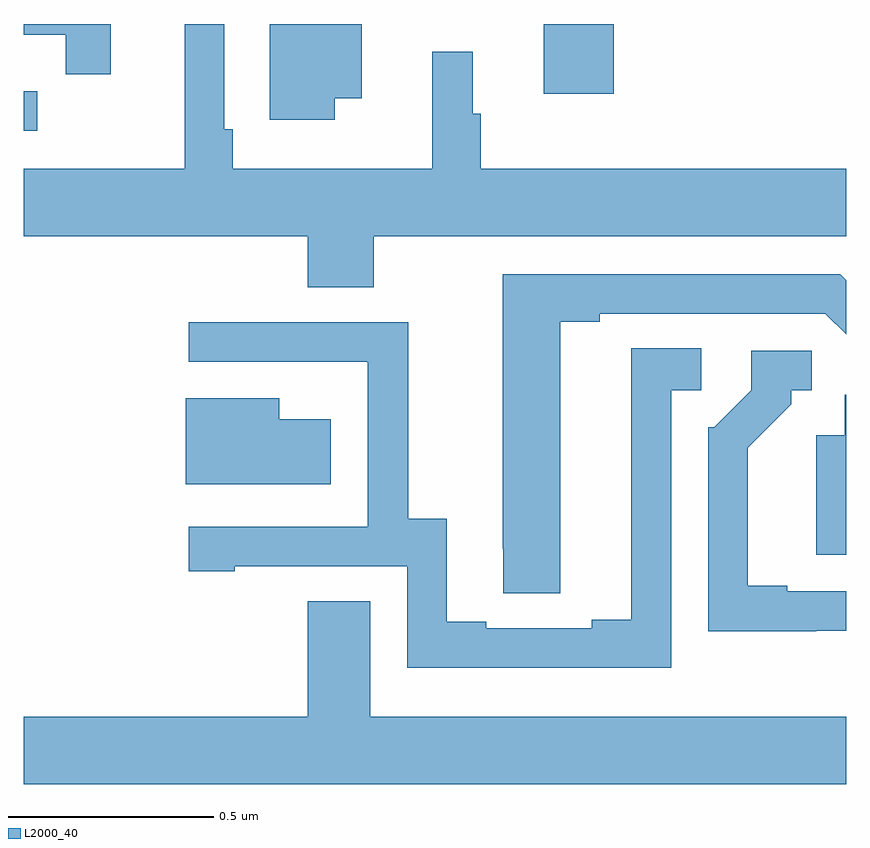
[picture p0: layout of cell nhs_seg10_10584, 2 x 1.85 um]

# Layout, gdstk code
import gdstk
lib = gdstk.Library(unit=1e-6, precision=1e-09)
def R(c, l, rs):  # rectangles x0, y0, x1, y1
    for r in rs: c.add(gdstk.rectangle(r[:2], r[2:], *l))
def P(c, l, *ps):  # polygons
    for p in ps: c.add(gdstk.Polygon(p, *l))
L2000_40 = (2000, 40)

nhs_seg10_10584 = lib.new_cell('nhs_seg10_10584')
R(nhs_seg10_10584, L2000_40, [(244,1299.24,244.033,1299.336), (245.264,1299.33,245.435,1299.5)])
P(nhs_seg10_10584, L2000_40, [(244.851,1298.984),(246,1298.984),(246,1299.148),(245.111,1299.148),(245.111,1299.282),(245.092,1299.282),(245.092,1299.433),(244.993,1299.433),(244.993,1299.148),(244.508,1299.148),(244.508,1299.244),(244.488,1299.244),(244.488,1299.5),(244.391,1299.5),(244.391,1299.148),(244,1299.148),(244,1298.984),(244.691,1298.984),(244.691,1298.86),(244.851,1298.86)],
  [(244.756,1299.32),(244.822,1299.32),(244.822,1299.5),(244.598,1299.5),(244.598,1299.267),(244.756,1299.267)],
  [(244.211,1299.5),(244,1299.5),(244,1299.474),(244.102,1299.474),(244.102,1299.378),(244.211,1299.378)],
  [(245.305,1298.776),(245.401,1298.776),(245.401,1298.796),(245.949,1298.796),(246,1298.745),(246,1298.877),(245.985,1298.892),(245.165,1298.892),(245.165,1298.224),(245.166,1298.224),(245.166,1298.116),(245.305,1298.116)],
  [(245.574,1298.61),(245.647,1298.61),(245.647,1298.711),(245.477,1298.711),(245.477,1298.051),(245.381,1298.051),(245.381,1298.031),(245.125,1298.031),(245.125,1298.046),(245.029,1298.046),(245.029,1298.297),(244.935,1298.297),(244.935,1298.775),(244.401,1298.775),(244.401,1298.679),(244.835,1298.679),(244.835,1298.678),(244.836,1298.678),(244.836,1298.277),(244.401,1298.277),(244.401,1298.169),(244.513,1298.169),(244.513,1298.181),(244.932,1298.181),(244.932,1297.935),(245.574,1297.935)],
  [(245.927,1298.025),(246,1298.025),(246,1298.121),(245.857,1298.121),(245.857,1298.134),(245.761,1298.134),(245.761,1298.47),(245.866,1298.575),(245.866,1298.61),(245.916,1298.61),(245.916,1298.706),(245.769,1298.706),(245.769,1298.61),(245.679,1298.52),(245.664,1298.52),(245.664,1298.024),(245.927,1298.024)],
  [(246,1298.598),(245.996,1298.598),(245.996,1298.5),(245.927,1298.5),(245.927,1298.21),(246,1298.21)],
  [(244.747,1298.539),(244.621,1298.539),(244.621,1298.59),(244.394,1298.59),(244.394,1298.381),(244.747,1298.381)],
  [(246,1297.816),(244.843,1297.816),(244.843,1298.096),(244.691,1298.096),(244.691,1297.816),(244,1297.816),(244,1297.652),(246,1297.652)])

lib.write_gds('nhs_seg10_10584.gds')
